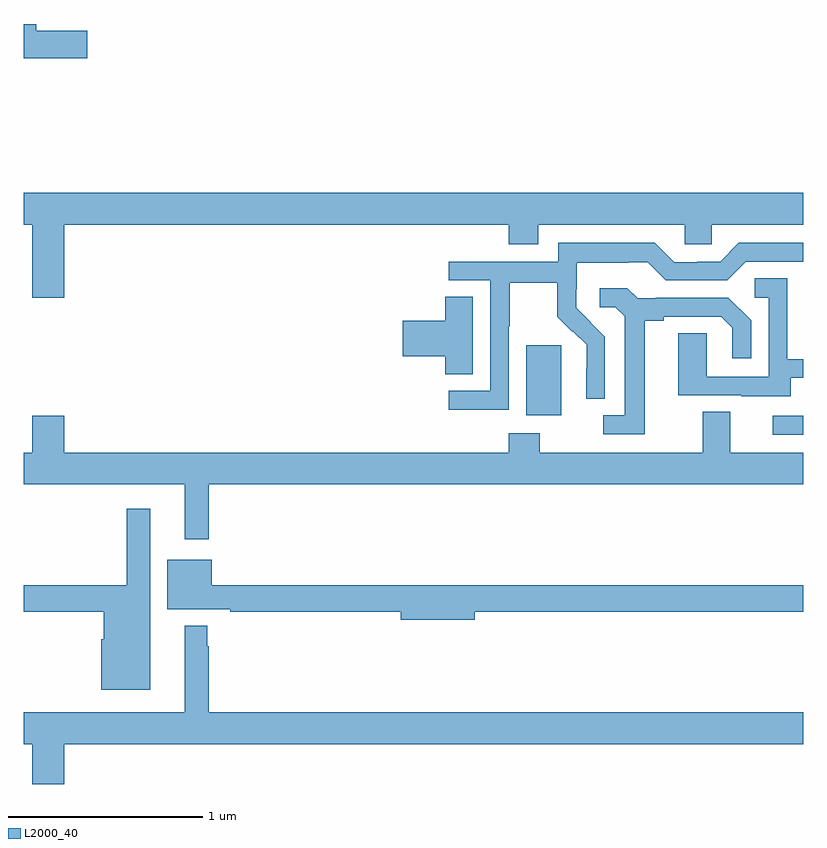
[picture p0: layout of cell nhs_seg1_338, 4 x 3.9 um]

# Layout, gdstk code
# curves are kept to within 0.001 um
import gdstk
lib = gdstk.Library(unit=1e-6, precision=1e-09)
def R(c, l, rs):  # rectangles x0, y0, x1, y1
    for r in rs: c.add(gdstk.rectangle(r[:2], r[2:], *l))
def P(c, l, *ps):  # polygons
    for p in ps: c.add(gdstk.Polygon(p, *l))
L2000_40 = (2000, 40)

nhs_seg1_338 = lib.new_cell('nhs_seg1_338')
R(nhs_seg1_338, L2000_40, [(132.843,547.992,133,548.088), (131.579,548.09,131.758,548.451)])
P(nhs_seg1_338, L2000_40, [(129.325,550.065),(129.064,550.065),(129.064,550.099),(129,550.099),(129,549.923),(129.325,549.923)],
  [(129.208,549.068),(131.489,549.068),(131.489,548.969),(131.641,548.969),(131.641,549.068),(132.393,549.068),(132.393,548.97),(132.531,548.97),(132.531,549.068),(133,549.068),(133,549.232),(129,549.232),(129,549.068),(129.044,549.068),(129.044,548.694),(129.208,548.694)],
  [(131.49,548.548),(131.493,548.548),(131.493,548.772),(131.737,548.772),(131.737,548.597),(131.814,548.52),(131.817,548.523),(131.888,548.453),(131.888,548.33),(131.886,548.33),(131.886,548.176),(131.982,548.176),(131.982,548.494),(131.836,548.642),(131.836,548.739),(131.838,548.739),(131.838,548.873),(132.101,548.873),(132.101,548.877),(132.201,548.877),(132.294,548.784),(132.609,548.784),(132.705,548.88),(133,548.88),(133,548.976),(132.669,548.976),(132.573,548.88),(132.455,548.88),(132.455,548.877),(132.339,548.877),(132.239,548.977),(131.742,548.977),(131.742,548.88),(131.181,548.88),(131.181,548.784),(131.394,548.784),(131.394,548.217),(131.181,548.217),(131.181,548.119),(131.49,548.119)],
  [(132.937,548.283),(133,548.283),(133,548.379),(132.918,548.379),(132.918,548.795),(132.75,548.795),(132.75,548.694),(132.822,548.694),(132.822,548.289),(132.504,548.289),(132.504,548.513),(132.359,548.513),(132.359,548.193),(132.683,548.193),(132.683,548.189),(132.937,548.189)],
  [(132.187,548.576),(132.283,548.576),(132.283,548.598),(132.578,548.598),(132.635,548.541),(132.635,548.385),(132.732,548.385),(132.732,548.578),(132.616,548.694),(132.244,548.694),(132.244,548.691),(132.15,548.691),(132.098,548.743),(131.955,548.743),(131.955,548.646),(132.036,548.646),(132.083,548.599),(132.083,548.091),(131.973,548.091),(131.973,547.995),(132.187,547.995)],
  [(131.305,548.699),(131.162,548.699),(131.162,548.576),(130.944,548.576),(130.944,548.393),(131.162,548.393),(131.162,548.302),(131.305,548.302)],
  [(129.949,547.736),(133,547.736),(133,547.9),(132.625,547.9),(132.625,548.108),(132.485,548.108),(132.485,547.9),(131.649,547.9),(131.649,547.999),(131.489,547.999),(131.489,547.9),(129.208,547.9),(129.208,548.089),(129.044,548.089),(129.044,547.9),(129,547.9),(129,547.736),(129.827,547.736),(129.827,547.455),(129.949,547.455)],
  [(129.649,547.612),(129.528,547.612),(129.528,547.22),(129,547.22),(129,547.084),(129.41,547.084),(129.41,546.942),(129.398,546.942),(129.398,546.683),(129.649,546.683)],
  [(131.314,547.084),(133,547.084),(133,547.22),(129.964,547.22),(129.964,547.351),(129.737,547.351),(129.737,547.097),(130.06,547.097),(130.06,547.084),(130.934,547.084),(130.934,547.042),(131.314,547.042)],
  [(129.208,546.404),(133,546.404),(133,546.568),(129.949,546.568),(129.949,546.905),(129.942,546.905),(129.942,547.012),(129.827,547.012),(129.827,546.568),(129,546.568),(129,546.404),(129.044,546.404),(129.044,546.199),(129.208,546.199)])

lib.write_gds('nhs_seg1_338.gds')
